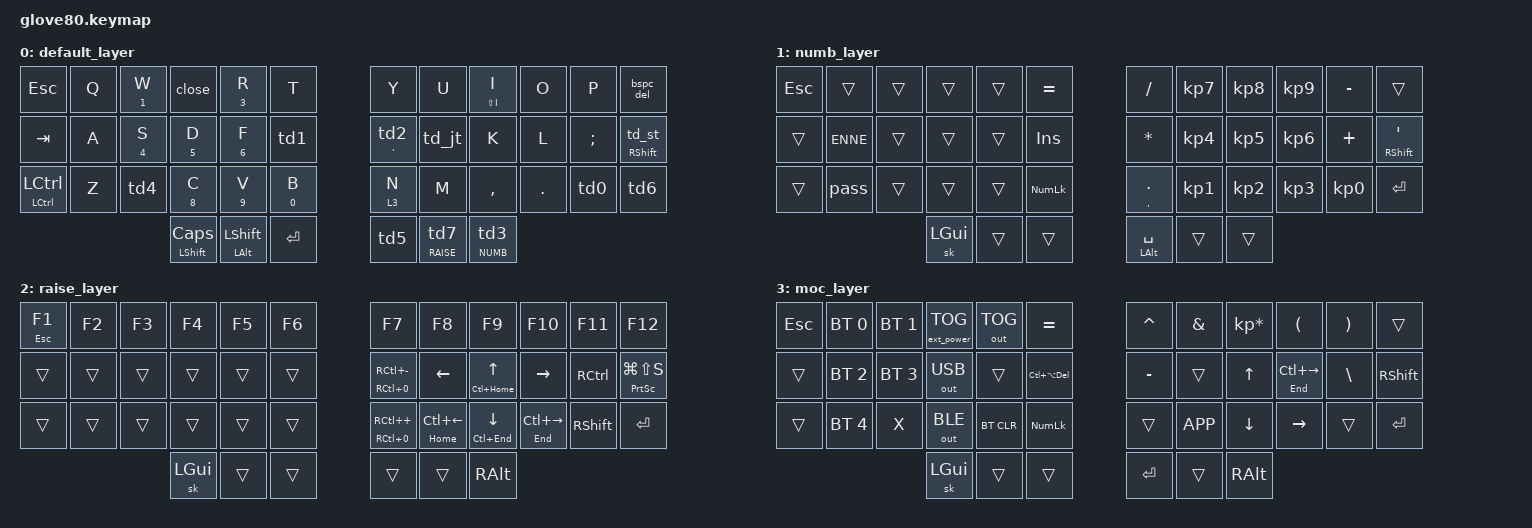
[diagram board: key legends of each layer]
/*
 * Copyright (c) 2020 The ZMK Contributors
 *
 * SPDX-License-Identifier: MIT
 */
 

//#include <dt-bindings/zmk/backlight.h>
#include <behaviors.dtsi>
#include <dt-bindings/zmk/bt.h>
#include <dt-bindings/zmk/keys.h>
#include <dt-bindings/zmk/ext_power.h>
#include <dt-bindings/zmk/outputs.h>
#include <dt-bindings/zmk/rgb.h>


#define DEFAULT 0
#define NUMB    1
#define RAISE   2
#define MOC     3
#define NONE    0
#define SKL 	  &tol 0 ESC	      	 // tap: Escape        | long-tap: Toggle layer 0 (DEFAULT)		

#define NAV_BSPC  &mt LC(BSPC) BSPC       // tap: bspc        | long-tap: delete word backward
#define NAV_DEL   &mt LC(DEL)  DEL        // tap: del         | long-tap: delete word forward
#define XXX 	  &none
#define ___  	  &trans  
#define PRV_WD    &mt HOME      LC(LEFT)     // tap: left           | long-tap: beginning of line
#define NXT_WD    &mt END       LC(RIGHT)    // tap: right          | long-tap: end       of line
#define BG_DOC    &mt LC(HOME)  UP           // tap: up             | long-tap: beginning of document
#define ED_DOC    &mt LC(END)   DOWN         // tap: down           | long-tap: end       of document
#define ALTENT    &mi RC(P)     LA(RET)      // tap: ALT-ENTER      | long-tap: PRINT
#define z_in      &mt RC(N0)    RC(PLUS)     // tap: zoom in        | long-tap: zoom reset
#define z_rst     &kp RC(N0)                 // tap: zoom reset
#define z_out     &mt RC(N0)    RC(MINUS)    // tap: zoom out       | long-tap: zoom reset
#define s_cap     &hm PSCRN     LG(LS(S))    // tap: SNIPPING tool  | long-tap: printscreen
#define CLPAS     &hm LG(V)     RC(V)        // tap: Paste          | long-tap: Open Clipboard
#define TASKM     &kp LC(LA(DEL)) // C-A-DEL

//#define SPELL     &kp LC(LG(D))
//#define TRADUCT   &kp LS(LA(T))
//#define EMOJI     &kp LC(LG(SPACE))

#define BRIGD	    &rgb_ug RGB_BRD
#define on_off      &rgb_ug RGB_TOG
#define EFFET       &rgb_ug RGB_EFF
#define BRIGU       &rgb_ug RGB_BRI
#define E_POW       &ext_power EP_TOG
#define CANCEL      &kp K_CANCEL
//////////// Enable OLED ////////////

//////////// Release times//// NUM-WORD////////
&sl {
    release-after-ms = <2000>;
};
&sk {
    release-after-ms = <2600>;
    quick-release;
};
//&num_word {  // num-word, requires PR #1441
//    layers = <NUMB>;
  
//};
//&caps_word {
   
//    continue-list = <UNDERSCORE MINUS DEL BACKSPACE DELETE>;
   
//};
/////////////// MACROS ///////////////
#define MACRO(name, keys)                  \
name: name##_macro {                       \
	label = #name;                     \
	compatible = "zmk,behavior-macro"; \
	#binding-cells = <0>;              \
	tap-ms = <4>;                      \
	wait-ms = <4>;                     \
	bindings = <keys>;                 \
};
/ {
	macros {
		MACRO(pass,  &macro_press &kp LSHFT &macro_tap &kp M &macro_release &kp LSHFT &macro_tap_time 500 &kp RET)
		MACRO(DQT_q, &kp DQT &kp DQT &kp LEFT)
		MACRO(PAR_s, &macro_tap &kp LPAR &kp RPAR &kp LEFT)
		MACRO(SNC_up, &macro_press &kp LSHFT &macro_tap &kp S &kp N &kp C &macro_release &kp LSHFT &macro_tap &kp HASH)
		MACRO(DIAM,  &macro_press &kp LALT  &macro_tap   &kp KP_N0 &kp KP_N2 &kp KP_N1 &kp KP_N6 &macro_release  &kp LALT)
		MACRO(ENNE,  &macro_tap &kp LS(M) &kp Z &kp SPACE &kp HASH &kp SPACE &kp N1 &kp N3 &kp SPACE &kp N2 &kp N4 &kp SPACE &kp DOLLAR &macro_tap_time 500 &kp RET)
		MACRO(ps,    &macro_tap &kp LS(P) &kp LS(S) &kp MINUS &kp MINUS &kp HASH &kp P &kp LEFT &kp LEFT)
		MACRO(INIT,  &kp SPACE &sk RSHFT)
		MACRO(INIT2, &kp BSPC &sk RSHFT)
	};
};
//////////// COMBOS /////////////////
#define COMBO(name, keypress, keypos, Term)      \
combo_##name {                                   \
	timeout-ms = <Term>;                     \
	bindings = <keypress>;                   \
	key-positions = <keypos>;                \
    slow-release;                            \
};
       
/ {
	combos {
		compatible = "zmk,combos";
		COMBO(LREBOOT,		&bootloader,	0	4,	45)
		COMBO(AT,			&kp AT,			1	16,	45)
		COMBO(LBKSP,		NAV_BSPC,		4	5,	95)
		COMBO(LRESET,		&kp AMPS,		5	0,	45)
		COMBO(RDELET,		NAV_DEL,		5	17,	95)					// Combo key positions
		COMBO(RRESET,		&kp AMPS,		6	11,	45)		//  0  1  2  3  4  5      6  7  8  9  10 11
		COMBO(DEL,			&bspc_del,		30	40,	25)		// 12 13 14 15 16 17      18 19 20 21 22 23
		COMBO(RBKSP,		&kp LC(BSPC),	6	7,	95)		// 24 25 26 27 28 29      30 31 32 33 34 35
		COMBO(RTAB,			&kp LS(TAB),	7	8,	20)		//	  		 36 37 38    39 40 41           
		COMBO(RREBOOT,		&bootloader,	7	11,	45)
		COMBO(RESC,			SKL,		7	8	9,	55)
		COMBO(TAB,			&kp TAB,		8	9,	20)
		COMBO(ENDEL,		&kp DEL,		11	23,	05)
		COMBO(AMPS,			&kp AMPS,		13	16,	45)
		COMBO(DLLR,			&kp DLLR,		14	16,	45)
		COMBO(MINUS,		&kp MINUS,		19	39,	45)
		COMBO(RCOPY,		&kp LC(C),		19	40,	45)
		COMBO(RPASTE,		&kp LC(V),		19	41,	45)
		COMBO(LCUT,			&kp LC(X),		24	26,	50)
		COMBO(LCOPY,		&kp LC(C),		26	27,	30)
		COMBO(LPASTE,		CLPAS,   		28	29,	50)
		COMBO(Under,		&kp UNDER,		31	39,	45)
		COMBO(numb,			&tog NUMB,		40	41,	45)
		                // invoke macros
		COMBO(DIAM,			&DIAM,			15	16,	95)
		COMBO(pass,			&pass,			25	32,	85)
		COMBO(DQTx2,		&DQT_q,			29	30,	45)
		COMBO(PARx2,		&PAR_s,			17	18,	45)
		COMBO(SNC,			&SNC_up,		5	6,	45)
		COMBO(ps,			&ps,			10	14,	85)
	};
};  
//////////////////////////////
&mt {	flavor = "tap-preferred";	tapping-term-ms = <320>;	quick-tap-ms = <450>;	hold-trigger-key-positions = <0>;             // repeat on tap-into-hold
      																		// tap on interrupt
};
/ {
   behaviors {

 //  num_word: behavior_num_word {    compatible = "zmk,behavior-caps-word";      label = "NUM_WORD";     #binding-cells = <0>;         layers = <NUMB>;                           			    	// insert location of numbers layer here
  //       continue-list = <KP_NLCK FSLH STAR LALT BACKSPACE DELETE DOT KP_N0 KP_N1 KP_N2 KP_N3 KP_N4 KP_N5 KP_N6 KP_N7 KP_N8 KP_N9 KP_DOT KP_EQUAL KP_DIVIDE KP_MULTIPLY MINUS PLUS KP_MINUS KP_ENTER>; 		// adjust as desired
  //          ignore-numbers;                                     // numbers don't deactivate the layer
//	};
   hm: homerow_modsx {	 	compatible = "zmk,behavior-hold-tap";	 label = "HOMEROW_MODSx";	#binding-cells = <2>;		flavor = "tap-preferred";
        tapping_term_ms = <360>; 	 quick-tap-ms = <100>; 		 bindings = <&kp>, <&kp>;	
        };
   mi: homerow_mods2 {	 	compatible = "zmk,behavior-hold-tap";	 label = "HOMEROW_MODS2"; 	#binding-cells = <2>;		flavor = "tap-preferred";
	   tapping_term_ms = <280>; 	 quick-tap-ms = <220>;		 bindings = <&kp>, <&kp>;
	};
   ni: homerow_mods3 {	 	compatible = "zmk,behavior-hold-tap";	 label = "HOMEROW_MODS3"; 	#binding-cells = <2>;		flavor = "tap-preferred";
	   tapping_term_ms = <100>; 	 quick-tap-ms = <320>;		 bindings = <&kp>, <&INIT2>;		   
        };
   phs: homerow_mods4 {     compatible = "zmk,behavior-hold-tap";	 label = "HOMEROW_MODS4";	#binding-cells = <2>;		flavor = "hold-preferred";
        tapping-term-ms = <250>;	 quick-tap-ms = <280>;		 	bindings = <&kp>, <&td_st>;	retro-tap;
        };
   phs2: homerow_mods5 {     compatible = "zmk,behavior-hold-tap";	 label = "HOMEROW_MODS5";	#binding-cells = <2>;		flavor = "hold-preferred";
        tapping-term-ms = <160>;	 quick-tap-ms = <5>;		 	bindings = <&kp>, <&sk>;	retro-tap;
        };
   phc: homerow_mods6 {		compatible = "zmk,behavior-hold-tap";    label = "HOMEROW_MODS6";	#binding-cells = <2>;		flavor = "hold-preferred";
        tapping-term-ms = <155>;	 quick-tap-ms = <5>;		 bindings = <&kp>, <&sk>;	
        };
   phh: homerow_mods7 {		compatible = "zmk,behavior-hold-tap";    label = "HOMEROW_MODS7";	#binding-cells = <2>;		flavor = "tap-preferred";
            tapping-term-ms = <320>;	 quick-tap-ms = <280>;		 bindings = <&kp>, <&td2>;	
        };
   tol: homerow_mods8 {	 	compatible = "zmk,behavior-hold-tap";	 label = "HOMEROW_MODS8"; 	#binding-cells = <2>;		flavor = "tap-preferred";
	   tapping_term_ms = <280>; 	 quick-tap-ms = <220>;		 bindings = <&tog>, <&kp>;
	};

   bspc_del: back_del {	compatible = "zmk,behavior-mod-morph";	 label = "BACK_DEL";		 #binding-cells = <0>;
         bindings =	 <NAV_BSPC>, <NAV_DEL>;		mods = <(MOD_LSFT|MOD_RSFT)>;		keep-mods = <(MOD_LSFT)>;
        };
   close: close {		compatible = "zmk,behavior-mod-morph";	 label = "CLOSE";		 #binding-cells = <0>;
            bindings = 	<&hm N2 E>, <&kp LA(F4)>; 	mods = <(MOD_LALT|MOD_RALT)>;	

	    //MOD_LSFT MOD_RSFT MOD_LCTL MOD_RCTL MOD_LALT MOD_RALT MOD_LGUI MOD_RGUI

        };
   td0: tap_dance_0 {		compatible = "zmk,behavior-tap-dance"; 	label = "TAP_DANCE_0";			#binding-cells = <0>;        
            tapping-term-ms = <550>;   
        bindings = <&kp FSLH>, <&kp BACKSLASH>, <&kp PRCNT>, <&kp PIPE>, <&kp HASH>;
        };
   td1: tap_dance_1 {		compatible = "zmk,behavior-tap-dance"; 	label = "TAP_DANCE_1";			#binding-cells = <0>;
            tapping-term-ms = <260>;
        bindings = <&hm QUESTION G>, <&kp LPAR>;
        };
   td2: tap_dance_2 {		compatible = "zmk,behavior-tap-dance"; 	label = "TAP_DANCE_2";			#binding-cells = <0>;
            tapping-term-ms = <300>;
        bindings = <&kp H>, <&kp RPAR>;
        };
   td3: tap_dance_3 {		compatible = "zmk,behavior-tap-dance"; 	label = "TAP_DANCE_3";			#binding-cells = <0>;
            tapping-term-ms = <300>;
        bindings = <&kp H>, <&kp R>;
        };
   td_jt: tap_dance_mod_tap2 {	compatible = "zmk,behavior-tap-dance";  label = "TAP_DANCE_MOD_TAP2";		#binding-cells = <0>;
	    tapping-term-ms = <230>;		
        bindings = <&pht RCTRL J>, <&sk LCTRL>;
        };
   td_st: tap_dance_mod_tap3 {	compatible = "zmk,behavior-tap-dance";	label = "TAP_DANCE_MOD_TAP3";		#binding-cells = <0>;
	    tapping-term-ms = <300>;
        bindings = <&sk RSHIFT>, <&kp SQT>;		
        };
   td4: tap_dance_mod_tap4 {	compatible = "zmk,behavior-tap-dance";	label = "TAP_DANCE_MOD_TAP4";		#binding-cells = <0>;
            tapping-term-ms = <270>;
        bindings = <&hm N7 X>, <&kp LC(X)>;
        };
   td5: tap_dance_mod_tap5 {	compatible = "zmk,behavior-tap-dance";	label = "TAP_DANCE_MOD_TAP5";		#binding-cells = <0>;
            tapping-term-ms = <200>;
        bindings = <&phe LALT SPACE>, <&kp LA(RET)>;
        };
   td6: tap_dance_mod_tap6 {	compatible = "zmk,behavior-tap-dance";	label = "TAP_DANCE_MOD_TAP6";		#binding-cells = <0>;
            tapping-term-ms = <250>;
        bindings = <&kp RET>, <ALTENT>;
        };
   td7: tap_dance_mod_tap7 {	compatible = "zmk,behavior-tap-dance";	label = "TAP_DANCE_MOD_TAP7";		#binding-cells = <0>;
            tapping-term-ms = <390>;
        bindings = <&INIT>, <&ni BSPC 0>;
        };
   pht: pos_h_t2 {		compatible = "zmk,behavior-hold-tap";	label = "POS_H_T2";			#binding-cells = <2>;	flavor = "tap-preferred";
            tapping-term-ms = <155>;	quick-tap-ms = <10>;	bindings = <&sk>, <&kp>;	retro-tap;
        hold-trigger-key-positions = <1 2 3 4 5 6 7 8 9 10 13 14 15 16 17 18 19 20 21 22 23 25 26 27 28 29 30 31 32 33 34>;
        };
   phe: pos_h_t4 {	 compatible = "zmk,behavior-hold-tap";		label = "POS_H_T4";	 #binding-cells = <2>;	 flavor = "hold-preferred";
          tapping-term-ms = <180>;	 quick-tap-ms = <20>;	    bindings = <&kp>, <&kp>;

            hold-trigger-key-positions = <7 8 9 19 20 21 31 32 33 34>;
        };
   phl: pos_h_t5 {	 compatible = "zmk,behavior-hold-tap";		label = "POS_H_T5";	 #binding-cells = <2>;	 flavor = "tap-preferred";
          tapping-term-ms = <350>;	 quick-tap-ms = <300>;	    bindings = <&mo>, <&td7>;  	

            hold-trigger-key-positions = <19 20 21 22 31 32 33 34>;
        };
   ph2: pos_h_t6{	 compatible = "zmk,behavior-hold-tap";		label = "POS_H_T6";	 #binding-cells = <2>;	 flavor = "hold-preferred";
          tapping-term-ms = <250>;	 quick-tap-ms = <300>;	    bindings = <&mo>, <&td3>;	

            hold-trigger-key-positions = <1 2 3 4 5 6 7 8 9 10 13 14 15 16 17 18 19 20 21 22 23 25 26 27 28 29 30 31 32 33 34>;
        };
     };
};
/* definitions for mouse layer */
//#include "mouse.dtsi"
//////////////////////////////
/ {
    keymap {
                compatible = "zmk,keymap";
                default_layer {
                        bindings = <
// _______________________________________________________________________________          _______________________________________________________________________________ 
// |       ESC     |     Q     |      W     |      E     |      R    |      T     |         |     Y      |     U     |     I     |      O     |     P     |     BKSP     ||
        &kp ESC        &kp Q      &hm N1 W      &close     &hm N3 R      &kp T                  &kp Y        &kp U    &hm LS(I) I     &kp O       &kp P       &bspc_del
// ___position 0___|______1____|______2_____|______3_____|_____4_____|______5_____|         |______6_____|_____7_____|_____8_____|______9_____|_____10____|______11______|| 
// |      TAB      |     A     |      S     |      D     |     F     |      G     |         |     H      |      J    |     K     |      L     |     ;     |   RSHIFT / ' ||
        &kp TAB        &kp A      &hm N4 S     &hm N5 D     &hm N6 F      &td1                &phh SQT 0     &td_jt      &kp K        &kp L      &kp SEMI   &phs RSHIFT 0
// |_______12______|_____13____|_____14_____|_____15_____|_____16____|_____17_____|         |_____18_____|_____19____|_____20____|_____21_____|_____22____|______23______||   
// |      CTRL     |     Z     |     X      |     C      |      V    |     B      |         |  Layer3/N  |     M     |      ,    |     .      |   /\%#    |     ENTER    || 
  &phc LCTRL LCTRL     &kp Z        &td4       &hm N8 C     &hm N9 V    &hm N0 B               &lt 3 N       &kp M     &kp COMMA     &kp DOT      &td0          &td6
// _______24_______|_____25____|_____26_____|_____27_____|_____28____|_____29_____|         |_____30_____|____31_____|____32_____|_____33_____|_____34____|______35______||                   
//                                      |  CAPS/SHFT   |    ALT    |    ENTER    |           |   SPC/ALT    |   LAYER2   |   LAYER1    |
                                        &mt LSHIFT CAPS &phs2 LALT LSHIFT  &kp RET                    &td5       &phl RAISE 0  &ph2 NUMB 0 
//                                      |______36______|_____37____|______38_____|           |_______39_____|_____40_____|______41_____|                    
                        >;
                };
                numb_layer {
                        bindings = <                
// _______________________________________________________________________________         _______________________________________________________________________________
// |    ESC    |            |             |    RGB    |           |      =       |         |     /      |      7      |     8      |     9     |     -     |     BKSP   ||                       
      &kp ESC       ___          ___        ___    ___    &kp EQUAL               &kp FSLH     &kp KP_N7    &kp KP_N8    &kp KP_N9   &kp MINUS       ___   
// ____________|____________|_____________|___________|___________|______________|         |____________|_____________|____________|___________|___________|____________|| 
// |    TAB    |            |             |    RGB    |           |   Insert     |         |    *       |      4      |     5      |     6     |     +     |  SHIFT /'  || 
       ___         &ENNE         ___        ___    ___    &kp  INS                &kp STAR     &kp KP_N4    &kp KP_N5    &kp KP_N6   &kp PLUS  &pht RSHIFT SQT
// |___________|____________|_____________|___________|___________|______________|         |____________|_____________|____________|___________|___________|____________|| 
// |    CTRL   |            |             |    RGB    |           |   NUM LOCK   |         |     ./,    |       1     |      2     |      3    |     0     |    ENTER   ||   
       ___         &pass          ___         ___    ___  &kp KP_NLCK            &hm COMMA DOT  &kp KP_N1    &kp KP_N2    &kp KP_N3   &kp KP_N0    &kp RET   
// |___________|____________|_____________|___________|___________|______________|         |____________|_____________|____________|___________|___________|____________||            
//                                       |     LGUI   |    ALT    |   ENTER    |            |   SPC/ALT   |   LAYER2   |             |   
											&sk LGUI       ___           ___                &phe LALT SPACE    ___           ___
//                                       |____________|___________|____________|            |_____________|____________|_____________|                                                     
                        >;
                };
                raise_layer {
                        bindings = <                        
// _________________________________________________________________________________         _________________________________________________________________________ 
// |      F1    |      F2      |      F3     |    F      |     F5     |     F6     |         |    F7    |     F8    |     F9   |    F10    |    F11    |     F12      ||                        
     &mt ESC F1      &kp F2        &kp F3        &kp F4      &kp F5      &kp F6                 &kp F7     &kp F8      &kp F9     &kp F10     &kp F11      &kp F12   
// _____________|______________|_____________|___________|____________|____________|         |__________|___________|__________|___________|___________|______________|| 
// |     TAB    |   CLICK 3    |      <      | Mouse Up  |      >     |  Wheel Up  |         |          |   LEFT    |    UP    |   RIGHT   |    RCTRL  | PRINTSCREEN  ||   
         ___         ___         ___       ___      ___       ___                 z_out     &kp LEFT    BG_DOC    &kp RIGHT   &kp RCTRL      s_cap
// |____________|______________|_____________|___________|____________|____________|         |__________|___________|__________|___________|___________|______________||   
// |     CTRL   |  Right CLICK |  Mouse Left | Mouse Dn  |Mouse Right |  Wheel Dow |         |          | PREV WORD |    DOWN  | Next Word |   RSHIFT  |     ENTER    ||    
         ___         ___        ___       ___       ___       ___                 z_in      PRV_WD      ED_DOC     NXT_WD     &kp RSHIFT     &kp RET  
// _____________|______________|_____________|___________|____________|____________|         |__________|___________|__________|___________|___________|______________||                   
//                                      |  CAPS/SHFT   | Left CLICK |   ENTER     |            |   SPC/ALT   |   LAYER2   |   LAYER1    |   
                    	                    &sk LGUI       ___        ___                         ___           ___       &kp RALT
//                                      |______________|____________|_____________|            |_____________|____________|_____________|                                                 
                        >;
                };
		moc_layer {
                        bindings = <
// _______________________________________________________________________________         _______________________________________________________________________________ 
// |     ESC     |      Q     |     W     |      E     |      R     |      T     |         |     ^      |     &      |     *      |     (      |      )     |     BKSP     ||                        
      &kp ESC     &bt BT_SEL 0 &bt BT_SEL 1 &ext_power EP_TOG &out OUT_TOG &kp EQUAL          &kp CARET    &kp AMPS  &kp KP_MULTIPLY &kp LPAR     &kp RPAR         ___   
// ______________|____________|___________|____________|____________|____________|         |____________|____________|____________|____________|____________|______________|| 
// |     TAB     |      A     |      S    |      D     |      F     |      G     |         |     H      |      J     |     up     |            |     \      |   RSHIFT / ' ||   
      ___         &bt BT_SEL 2 &bt BT_SEL 3 &out OUT_USB     ___         TASKM               &kp MINUS        ___         &kp UP      NXT_WD      &kp BSLH     &kp RSHIFT
// |_____________|____________|___________|____________|____________|____________|         |____________|____________|____________|____________|____________|______________||   
// |     CTRL    |      Z     |     X     |     C      |      V     |      B     |         |  Layer1/N  |    Menu    |   down    |     .      |      /     |     ENTER    ||    
       ___        &bt BT_SEL 4    &kp X     &out OUT_BLE  &bt BT_CLR  &kp KP_NLCK              ___         &kp K_APP     &kp DOWN    &kp RIGHT        ___       &kp RET   
// ______________|____________|___________|____________|____________|____________|         |____________|____________|____________|____________|____________|______________||                   
//                                      |     LGUI     |    ALT    |   ENTER    |            |   SPC/ALT   |   LAYER2   |   LAYER1    |   
                    	                    &sk LGUI        ___         ___                      &kp RET       ___        &kp RALT
//                                      |______________|___________|____________|            |_____________|____________|_____________|                                                 
                        >;
                };
         }; 
           
};            


